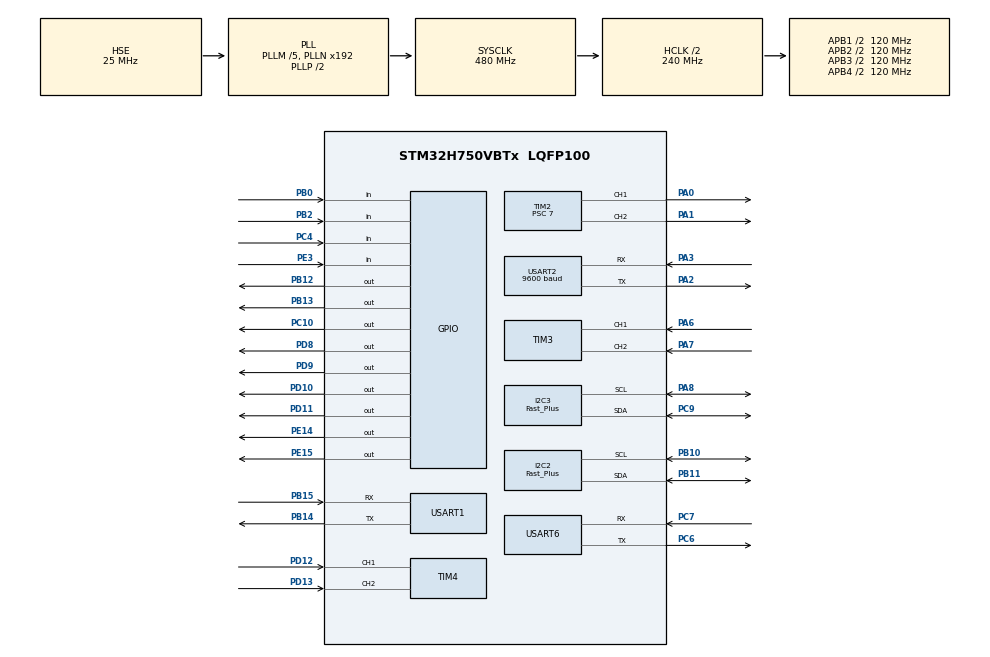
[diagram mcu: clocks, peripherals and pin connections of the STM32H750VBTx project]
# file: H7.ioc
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CORTEX_M7.default_mode_Activation=1
I2C2.I2C_Speed_Mode=I2C_Fast_Plus
I2C2.Timing=0x0050174F
I2C3.I2C_Speed_Mode=I2C_Fast_Plus
I2C3.Timing=0x0050174F
Mcu.Family=STM32H7
Mcu.Name=STM32H750VBTx
Mcu.Package=LQFP100
NVIC.PriorityGroup=NVIC_PRIORITYGROUP_4
NVIC.TIM3_IRQn=true\:0\:0\:false\:false\:true\:true\:true\:true
NVIC.TIM4_IRQn=true\:0\:0\:false\:false\:true\:true\:true\:true
NVIC.TIM5_IRQn=true\:0\:0\:false\:false\:true\:true\:true\:true
NVIC.USART1_IRQn=true\:0\:0\:false\:false\:true\:true\:true\:true
NVIC.USART2_IRQn=true\:0\:0\:false\:false\:true\:true\:true\:true
NVIC.USART6_IRQn=true\:0\:0\:false\:false\:true\:true\:true\:true
PA0.Signal=S_TIM2_CH1_ETR
PA1.Signal=S_TIM2_CH2
PA2.Mode=Asynchronous
PA2.Signal=USART2_TX
PA3.Mode=Asynchronous
PA3.Signal=USART2_RX
PA6.Signal=S_TIM3_CH1
PA7.Signal=S_TIM3_CH2
PA8.Mode=I2C
PA8.Signal=I2C3_SCL
PB0.GPIO_PuPd=GPIO_PULLUP
PB0.Signal=GPIO_Input
PB10.Mode=I2C
PB10.Signal=I2C2_SCL
PB11.Mode=I2C
PB11.Signal=I2C2_SDA
PB12.Signal=GPIO_Output
PB13.Signal=GPIO_Output
PB14.Mode=Asynchronous
PB14.Signal=USART1_TX
PB15.Mode=Asynchronous
PB15.Signal=USART1_RX
PB2.GPIO_PuPd=GPIO_PULLUP
PB2.Signal=GPIO_Input
PC10.PinState=GPIO_PIN_SET
PC10.Signal=GPIO_Output
PC4.GPIO_PuPd=GPIO_PULLUP
PC4.Signal=GPIO_Input
PC6.Mode=Asynchronous
PC6.Signal=USART6_TX
PC7.Mode=Asynchronous
PC7.Signal=USART6_RX
PC9.Mode=I2C
PC9.Signal=I2C3_SDA
PD10.Signal=GPIO_Output
PD11.PinState=GPIO_PIN_SET
PD11.Signal=GPIO_Output
PD12.Signal=S_TIM4_CH1
PD13.Signal=S_TIM4_CH2
PD8.Signal=GPIO_Output
PD9.Signal=GPIO_Output
PE14.PinState=GPIO_PIN_SET
PE14.Signal=GPIO_Output
PE15.PinState=GPIO_PIN_SET
PE15.Signal=GPIO_Output
PE3.Signal=GPIO_Input
PH0-OSC_IN\ (PH0).Mode=HSE-External-Oscillator
PH0-OSC_IN\ (PH0).Signal=RCC_OSC_IN
PH1-OSC_OUT\ (PH1).Mode=HSE-External-Oscillator
PH1-OSC_OUT\ (PH1).Signal=RCC_OSC_OUT
ProjectManager.HeapSize=0x200
ProjectManager.StackSize=0x400
ProjectManager.TargetToolchain=MDK-ARM V5.32
RCC.ADCFreq_Value=50390625
RCC.APB1Freq_Value=120000000
RCC.APB2Freq_Value=120000000
RCC.APB3Freq_Value=120000000
RCC.APB4Freq_Value=120000000
RCC.CortexFreq_Value=480000000
RCC.D1PPRE=RCC_APB3_DIV2
RCC.D2PPRE1=RCC_APB1_DIV2
RCC.D2PPRE2=RCC_APB2_DIV2
RCC.D3PPRE=RCC_APB4_DIV2
RCC.DIVM1=5
RCC.DIVN1=192
RCC.HCLKFreq_Value=240000000
RCC.HPRE=RCC_HCLK_DIV2
RCC.PLL2FRACN=0
RCC.PLL3FRACN=0
RCC.PLLFRACN=0
RCC.PLLSourceVirtual=RCC_PLLSOURCE_HSE
RCC.SYSCLKFreq_VALUE=480000000
RCC.SYSCLKSource=RCC_SYSCLKSOURCE_PLLCLK
RCC.USBFreq_Value=480000000
SH.S_TIM2_CH1_ETR.0=TIM2_CH1,PWM Generation1 CH1
SH.S_TIM2_CH2.0=TIM2_CH2,PWM Generation2 CH2
SH.S_TIM3_CH1.0=TIM3_CH1,Encoder_Interface
SH.S_TIM3_CH2.0=TIM3_CH2,Encoder_Interface
SH.S_TIM4_CH1.0=TIM4_CH1,Encoder_Interface
SH.S_TIM4_CH2.0=TIM4_CH2,Encoder_Interface
TIM2.Channel-PWM\ Generation1\ CH1=TIM_CHANNEL_1
TIM2.Channel-PWM\ Generation2\ CH2=TIM_CHANNEL_2
TIM2.Period=9999
TIM2.Prescaler=7
TIM3.AutoReloadPreload=TIM_AUTORELOAD_PRELOAD_ENABLE
TIM3.EncoderMode=TIM_ENCODERMODE_TI12
TIM4.AutoReloadPreload=TIM_AUTORELOAD_PRELOAD_ENABLE
TIM4.EncoderMode=TIM_ENCODERMODE_TI12
TIM4.IC1Polarity=TIM_ICPOLARITY_RISING
TIM4.IC2Polarity=TIM_ICPOLARITY_RISING
TIM5.AutoReloadPreload=TIM_AUTORELOAD_PRELOAD_ENABLE
TIM5.Period=9999
TIM5.Prescaler=479
USART1.VirtualMode-Asynchronous=VM_ASYNC
USART2.BaudRate=9600
USART2.VirtualMode-Asynchronous=VM_ASYNC
USART6.VirtualMode=VM_ASYNC
VP_TIM5_VS_ClockSourceINT.Mode=Internal
board=custom

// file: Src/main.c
/* USER CODE BEGIN Header */
/**
  ******************************************************************************
  * @file           : main.c
  * @brief          : Main program body
  ******************************************************************************
  * @attention
  *
  * Copyright (c) 2024 STMicroelectronics.
  * All rights reserved.
  *
  * This software is licensed under terms that can be found in the LICENSE file
  * in the root directory of this software component.
  * If no LICENSE file comes with this software, it is provided AS-IS.
  *
  ******************************************************************************
  */
/* USER CODE END Header */
#include "main.h"
#include "i2c.h"
#include "tim.h"
#include "usart.h"
#include "gpio.h"

/* USER CODE BEGIN Includes */
#include "oled.h"
#include "stdio.h"
#include <stdarg.h>
//#include "mpu6050.h"
#include "inv_mpu.h"
#include "motor.h"
#include "control.h"
#include "uart_it.h"

//********************************************************
uint8_t angle=150;   //90  120
uint8_t state = 0;   //串口状???
uint8_t Date[10] = {0}; //接收数组
uint8_t state1 = 0;   //串口状???
uint8_t Date1[20] = {0}; //接收数组
uint16_t shuliang = 0;   //数字个数
int number[4] = {0};
uint8_t tick = 0;
int color =0; //当前胶带颜色 0red 1black 2wuse
uint8_t T_num=0;
//*********************************************************

//||||||||||||||||||||||||||||||||||||||||||||||||||||||||||//

uint8_t
hhh,hhhh,hhhhh,									//一次性变量用与使特定程序只执行一次
zhongbingfangnum[2]={0},				//中间病房
for_ru_num[4]={0},							//4数字位置
moweibingfangnum[2]={0},					//终点病房数字位置
zhuanwan[4]={0,0,0,0},
back=0,fff
;

int
lukou=0,				//路口变量lukou为当前第几次路口，zhuanwan[]为第几次路口时的运动方向，用于返回
zhuangtai = -1,									//用于确定车的状态，-1初始位置停止，0去时巡线执行，1转弯，2病房处停止，3病房处转一圈，4回时巡线，5回时巡线转弯，6任务结束停止,7拐弯巡线
set_jvli_A,set_jvli_B
;
/* USER CODE END Includes */

/* USER CODE BEGIN PTD */
void sort(int b[],int a[],int len)    //排序算法 b:被排序对象  a：排序依据
{
	int temp[2];
	for(int i=0;i<len-1;i++)
	{
		for(int n=i+1;n<len;n++)
		{
			temp[0] = a[i];
			temp[1] = b[i];
			if(a[n]<a[i])
			{
				b[i] = b[n];
				b[n]= temp[1];
				a[i] = a[n];
				a[n] = temp[0];
			}
		}
	}
}

void usart_printf(char *format,...)
{
	int i =0;
	char String[100];		 //定义输出字符串
	va_list arg;			 //定义一个参数列表变量va_list是一个类型名，arg是变量名
	va_start(arg,format);	 //从format位置开始接收参数表放在arg里面

	//sprintf打印位置是String，格式化字符串是format，参数表是arg，对于封装格式sprintf要改成vsprintf
	vsprintf(String,format,arg);
	va_end(arg);			 //释放参数表
	while(1)
	{
		if(String[i] == 0)
		{
			return;
		}
		HAL_UART_Transmit(&huart2,(uint8_t *)&String[i], 1, 0xffff);
		i++;
	}
}

/* USER CODE END PTD */

void SystemClock_Config(void);
static void MPU_Config(void);

int main(void)
{

  /* MPU Configuration--------------------------------------------------------*/
  MPU_Config();

  /* MCU Configuration--------------------------------------------------------*/

  /* Reset of all peripherals, Initializes the Flash interface and the Systick. */
  HAL_Init();

  /* Configure the system clock */
  SystemClock_Config();

  /* Initialize all configured peripherals */
  MX_GPIO_Init();
  MX_I2C2_Init();
  MX_TIM2_Init();
  MX_TIM3_Init();
  MX_TIM4_Init();
  MX_USART2_UART_Init();
  MX_I2C3_Init();
  MX_TIM5_Init();
  MX_USART1_UART_Init();
  MX_USART6_UART_Init();
  /* USER CODE BEGIN 2 */
	OLED_Init();
	OLED_FullyClear();
	HAL_TIM_Encoder_Start(&htim3,TIM_CHANNEL_1|TIM_CHANNEL_2);
	HAL_TIM_Encoder_Start(&htim4,TIM_CHANNEL_1|TIM_CHANNEL_2);
	HAL_TIM_PWM_Start(&htim2,TIM_CHANNEL_1);
	HAL_TIM_PWM_Start(&htim2,TIM_CHANNEL_2);
	int i=0;
  motor_init();
	char dir[8];
	int num_shu[4] = {0};
	for(i=0;i<10;i++)
	{
  uart_it_init();
	HAL_Delay(10);
	}
	HAL_TIM_Base_Start_IT(&htim3);
	HAL_TIM_Base_Start_IT(&htim4);
	HAL_TIM_Base_Start_IT(&htim5);
	int cnt=0;

  /* USER CODE END 2 */

  /* Infinite loop */
  /* USER CODE BEGIN WHILE */
  while (1)
  {

		if (state == 1)    //串口1接收完毕,等待处理
    {
      width =Date[0];
      now = Date[1];
			color = Date[2];
      state = 0;
    }										//
		if(state1 == 1)    //串口3接收完毕,等待处理
    {

			shuliang = Date1[0]; //数字个数
			if(shuliang == 1)
			{
				number[0]  = Date1[1];
				number[1] = 0;
				number[2] = 0;
				number[3] = 0;
						if(HAL_GPIO_ReadPin(GPIOB,GPIO_PIN_2)==0) //按键检测
		{
			HAL_GPIO_TogglePin(GPIOD,GPIO_PIN_10);
			T_num=number[0];
		}
			}
			else if(shuliang >1)  //数字数量大于1
			{
				for(int i =0;i<shuliang;i++)                //依次储存各数字与各数字坐标
				{
					num_shu[i] = (Date1[2+i*3]<<8) + Date1[3+i*3];
					number[i] = Date1[1+i*3];
				}
				sort(number,num_shu,shuliang);               //根据数字坐标排序数字
				for(int i = 0;i<4-shuliang;i++)
				{
					number[3-i] = 0;                        //清空未赋值数字
				}
				for(int i = 0;i<4;i++)
				{
					if(number[i] == 2)
					{
					number[i]=7;
					}
				}
			}

			//开始病房
			if(back==0)
			{
				if (shuliang==1&&lukou==0)
				{
					if(T_num==1)
					{
						zhuanwan[0]='A';
					}
					else if(T_num==2)
					{
						zhuanwan[0]='B';
					}
					else
						zhuanwan[0]=0;
				}

				//中端病房插口
				else if(shuliang==2&&lukou==1)
				{
					zhongbingfangnum[0]=number[0];
					zhongbingfangnum[1]=number[1];
					if(zhongbingfangnum[0]==T_num)
					{
						zhuanwan[1]='A';
					}
					else if(zhongbingfangnum[1]==T_num)
					{
						zhuanwan[1]='B';
					}
					else
						zhuanwan[1]=0;
				}

				//4病房岔口
				else if(shuliang==4&&lukou==2)
				{
					for_ru_num[0]=number[0];
					for_ru_num[1]=number[1];
					for_ru_num[2]=number[2];
					for_ru_num[3]=number[3];
					if(for_ru_num[0]==T_num||for_ru_num[1]==T_num)
					{
						zhuanwan[2]='A';
					}
					else if(for_ru_num[2]==T_num||for_ru_num[3]==T_num)
					{
						zhuanwan[2]='B';
					}
					else
						zhuanwan[2]=0;
				}

				//最后病房岔口
				else if(shuliang==2&&lukou==3)
				{
					moweibingfangnum[0]=number[0];
					moweibingfangnum[1]=number[1];
					if(moweibingfangnum[0]==T_num)
					{
						zhuanwan[3]='A';
					}
					else if(moweibingfangnum[1]==T_num)
					{
						zhuanwan[3]='B';
					}
					else
						zhuanwan[3]=0;
				}
				}
				number[0] = 0;
				number[1] = 0;
				number[2] = 0;
				number[3] = 0;
      state1 = 0;

    }										//

		while(zhuangtai==-1&&HAL_GPIO_ReadPin(GPIOE,GPIO_PIN_3)==0)
		{
		cnt++;
		HAL_Delay(10);
			if(cnt>150)
			{
			cnt=0;
			zhuangtai=0;
			}
		}

		while(zhuangtai==2&&HAL_GPIO_ReadPin(GPIOE,GPIO_PIN_3)==1)
		{
		cnt++;
		HAL_Delay(10);
			if(cnt>150)
			{
			cnt=0;
			zhuangtai=3;
			}
		}

		if(color==0&&width>=55&&hhh==0&&(zhuangtai==0||zhuangtai==7))//岔路口检测函数
		{
			set_jvli_A=z_A;
			set_jvli_B=z_B;
			if(back==0)
			lukou++;
			else
			lukou--;
			zhuangtai=1;
			hhh=1;//运行一次标志位
		}
		else if(color==0&&width<55&&(zhuangtai==0||zhuangtai==7))//标志位置0
		{

		hhh=0;
		}

		if(zhuangtai!=1&&color==1&&hhh==0)
		{
			set_jvli_A=z_A;
			set_jvli_B=z_B;
			if(back==0)
				zhuangtai=2;
			else
				zhuangtai=6;
			hhh=1;
		}

    /* USER CODE END WHILE */

    /* USER CODE BEGIN 3 */

		OLED_ShowStr1(0, 1,z_A, 6, 16);
		OLED_ShowStr1(64, 1,z_B, 6, 16);
		OLED_ShowStr1(0, 3,lukou, 1, 16);
		OLED_ShowStr1(30, 3,T_num, 1, 16);
		OLED_ShowStr1(60, 3,zhuangtai, 1, 16);
		OLED_ShowStr1(90, 3, now, 3, 16);
		OLED_ShowChar(0,5,zhuanwan[0],16);
		OLED_ShowChar(17,5,zhuanwan[1],16);
		OLED_ShowChar(34,5,zhuanwan[2],16);
		OLED_ShowChar(51,5,zhuanwan[3],16);
//		OLED_ShowStr1(0, 3, fork, 4, 16);

  }

  /* USER CODE END 3 */
}

void SystemClock_Config(void)
{
  RCC_OscInitTypeDef RCC_OscInitStruct = {0};
  RCC_ClkInitTypeDef RCC_ClkInitStruct = {0};

  /** Supply configuration update enable
  */
  HAL_PWREx_ConfigSupply(PWR_LDO_SUPPLY);

  /** Configure the main internal regulator output voltage
  */
  __HAL_PWR_VOLTAGESCALING_CONFIG(PWR_REGULATOR_VOLTAGE_SCALE1);

  while(!__HAL_PWR_GET_FLAG(PWR_FLAG_VOSRDY)) {}

  __HAL_RCC_SYSCFG_CLK_ENABLE();
  __HAL_PWR_VOLTAGESCALING_CONFIG(PWR_REGULATOR_VOLTAGE_SCALE0);

  while(!__HAL_PWR_GET_FLAG(PWR_FLAG_VOSRDY)) {}

  /** Initializes the RCC Oscillators according to the specified parameters
  * in the RCC_OscInitTypeDef structure.
  */
  RCC_OscInitStruct.OscillatorType = RCC_OSCILLATORTYPE_HSE;
  RCC_OscInitStruct.HSEState = RCC_HSE_ON;
  RCC_OscInitStruct.PLL.PLLState = RCC_PLL_ON;
  RCC_OscInitStruct.PLL.PLLSource = RCC_PLLSOURCE_HSE;
  RCC_OscInitStruct.PLL.PLLM = 5;
  RCC_OscInitStruct.PLL.PLLN = 192;
  RCC_OscInitStruct.PLL.PLLP = 2;
  RCC_OscInitStruct.PLL.PLLQ = 2;
  RCC_OscInitStruct.PLL.PLLR = 2;
  RCC_OscInitStruct.PLL.PLLRGE = RCC_PLL1VCIRANGE_2;
  RCC_OscInitStruct.PLL.PLLVCOSEL = RCC_PLL1VCOWIDE;
  RCC_OscInitStruct.PLL.PLLFRACN = 0;
  if (HAL_RCC_OscConfig(&RCC_OscInitStruct) != HAL_OK)
  {
    Error_Handler();
  }

  /** Initializes the CPU, AHB and APB buses clocks
  */
  RCC_ClkInitStruct.ClockType = RCC_CLOCKTYPE_HCLK|RCC_CLOCKTYPE_SYSCLK
                              |RCC_CLOCKTYPE_PCLK1|RCC_CLOCKTYPE_PCLK2
                              |RCC_CLOCKTYPE_D3PCLK1|RCC_CLOCKTYPE_D1PCLK1;
  RCC_ClkInitStruct.SYSCLKSource = RCC_SYSCLKSOURCE_PLLCLK;
  RCC_ClkInitStruct.SYSCLKDivider = RCC_SYSCLK_DIV1;
  RCC_ClkInitStruct.AHBCLKDivider = RCC_HCLK_DIV2;
  RCC_ClkInitStruct.APB3CLKDivider = RCC_APB3_DIV2;
  RCC_ClkInitStruct.APB1CLKDivider = RCC_APB1_DIV2;
  RCC_ClkInitStruct.APB2CLKDivider = RCC_APB2_DIV2;
  RCC_ClkInitStruct.APB4CLKDivider = RCC_APB4_DIV2;

  if (HAL_RCC_ClockConfig(&RCC_ClkInitStruct, FLASH_LATENCY_4) != HAL_OK)
  {
    Error_Handler();
  }
}

/* USER CODE BEGIN 4 */

void HAL_UART_RxCpltCallback(UART_HandleTypeDef *huart)
{

  if(huart == &huart1)
  {
		uart_it_receive(&huart1,Date,&state);
  }

	else if(huart == &huart6)
  {
		uart_it_receive1(&huart6,Date1,&state1);

  }
}

void HAL_TIM_PeriodElapsedCallback(TIM_HandleTypeDef *htim)
{

  if (htim == &htim3)
  {
		if(v_A>=0)
    ceh_A++;   //tim1计数溢出
		else
			ceh_A--;
  }

  if (htim == &htim4)
  {
		if(v_B>=0)
    ceh_B++;  //tim8计数溢出
		else
			ceh_B--;
  }

  if (htim == &htim5)
  {

    motor_handle();   //速度pid控制
    if (tick == 5)
    {
      if (zhuangtai == -1)//初始停止状态
      {
					Tv_A=0;
					Tv_B=0;
      }
			else if (zhuangtai == 0||zhuangtai==7)//巡线状态
      {
					line_pid(83,zhuangtai);
      }
			else if(zhuangtai==1)//转弯状态相关
			{

//				if(back==0)
//				{
//				fff=fangxiang(zhuanwan[lukou-1],back,zhuangtai);
//				if(fff==1)
//						zhuangtai = 7;
//				else if(fff==2)
//						zhuangtai=0;
//				}
//
//
//
//				else if(back==1)
//				{
//				fff=fangxiang(zhuanwan[lukou],back,zhuangtai);
//				 if(fff)
//					 zhuangtai=0;
//				}
					if(back==0)
				{
					if(zhuanwan[lukou-1]=='A')
					{
						if(z_A<set_jvli_A+700 && z_B<set_jvli_B+700 ){line_pid(83,zhuangtai);}

					else
					{
					get_T_distence(set_jvli_A+700,set_jvli_B+700+1670);
					distence_A_pid();
					distence_B_pid();
					if(distence_A_er*distence_A_er<200&&distence_B_er*distence_B_er<200)
						zhuangtai = 7;
					}

					}
					else if(zhuanwan[lukou-1]=='B')
					{
					if(z_A<set_jvli_A+700 && z_B<set_jvli_B+700 ){line_pid(83,zhuangtai);}
					else
					{
					get_T_distence(set_jvli_A+700+1670,set_jvli_B+700);
					distence_A_pid();
					distence_B_pid();
					if(distence_A_er*distence_A_er<200&&distence_B_er*distence_B_er<200)
						zhuangtai = 7;
					}
					}
					else
						zhuangtai = 0;
				}
				else
				{
					if(zhuanwan[lukou]=='A')
					{
						if(hhhh==0&&z_A<set_jvli_A+700 && z_B<set_jvli_B+700 )
					{
					get_T_distence(set_jvli_A+700+1670,set_jvli_B+700);
					line_pid(83,zhuangtai);
					}
					else
						hhhh=1;
					if(hhhh==1)
					{
						distence_A_pid();
						distence_B_pid();
						if(distence_A_er*distence_A_er<200&&distence_B_er*distence_B_er<200)
						{
							hhhh=0;
						zhuangtai = 0;
						}
					}

					}

					else if(zhuanwan[lukou]=='B')
					{
					if(hhhh==0&&z_A<set_jvli_A+700 && z_B<set_jvli_B+700 )
					{
					get_T_distence(set_jvli_A+700,set_jvli_B+700+1670);
					line_pid(83,zhuangtai);
					}
					else
						hhhh=1;
					if(hhhh==1)
					{
						distence_A_pid();
						distence_B_pid();
						if(distence_A_er*distence_A_er<200&&distence_B_er*distence_B_er<200)
						{
							hhhh=0;
						zhuangtai = 0;
						}
					}

					}
					else
						zhuangtai = 0;
				}

			}
			else if(zhuangtai==2||zhuangtai==6)//任务点停止状态|任务结束状态
			{
			get_T_distence(set_jvli_A,set_jvli_B);
			distence_A_pid();
			distence_B_pid();
			}
			else if(zhuangtai==3)//任务点返回时转弯状态
			{
				if(hhhh==0)
				{
				set_jvli_A=z_A;
				set_jvli_B=z_B;
				hhhh=1;
				}
				else if(hhhh==1)
				{
				get_T_distence(set_jvli_A+1500,set_jvli_B+1500);
				distence_B_pid();
				distence_A_pid();
				if(distence_A_er*distence_A_er<200&&distence_B_er*distence_B_er<200)
					hhhh=2;
				}

				else if(hhhh==2)
				{
				get_T_distence(set_jvli_A+1500,set_jvli_B+1500-1670);
				distence_B_pid();
				distence_A_pid();
				if(distence_A_er*distence_A_er<200&&distence_B_er*distence_B_er<200)
					hhhh=3;
				}
				else if (hhhh==3)
				{
				distence_B_pid();
				Tv_A=60;
				if(color==0)
				{
				back=1;
				hhhh=0;
				zhuangtai=7;
				}
				}
			}
    }
    else
    {
      tick++;
    }
  }
}

/* USER CODE END 4 */

 /* MPU Configuration */

void MPU_Config(void)
{
  MPU_Region_InitTypeDef MPU_InitStruct = {0};

  /* Disables the MPU */
  HAL_MPU_Disable();

  /** Initializes and configures the Region and the memory to be protected
  */
  MPU_InitStruct.Enable = MPU_REGION_ENABLE;
  MPU_InitStruct.Number = MPU_REGION_NUMBER0;
  MPU_InitStruct.BaseAddress = 0x0;
  MPU_InitStruct.Size = MPU_REGION_SIZE_4GB;
  MPU_InitStruct.SubRegionDisable = 0x87;
  MPU_InitStruct.TypeExtField = MPU_TEX_LEVEL0;
  MPU_InitStruct.AccessPermission = MPU_REGION_NO_ACCESS;
  MPU_InitStruct.DisableExec = MPU_INSTRUCTION_ACCESS_DISABLE;
  MPU_InitStruct.IsShareable = MPU_ACCESS_SHAREABLE;
  MPU_InitStruct.IsCacheable = MPU_ACCESS_NOT_CACHEABLE;
  MPU_InitStruct.IsBufferable = MPU_ACCESS_NOT_BUFFERABLE;

  HAL_MPU_ConfigRegion(&MPU_InitStruct);
  /* Enables the MPU */
  HAL_MPU_Enable(MPU_PRIVILEGED_DEFAULT);

}

void Error_Handler(void)
{
  __disable_irq();
  while (1)
  {
  }
}
